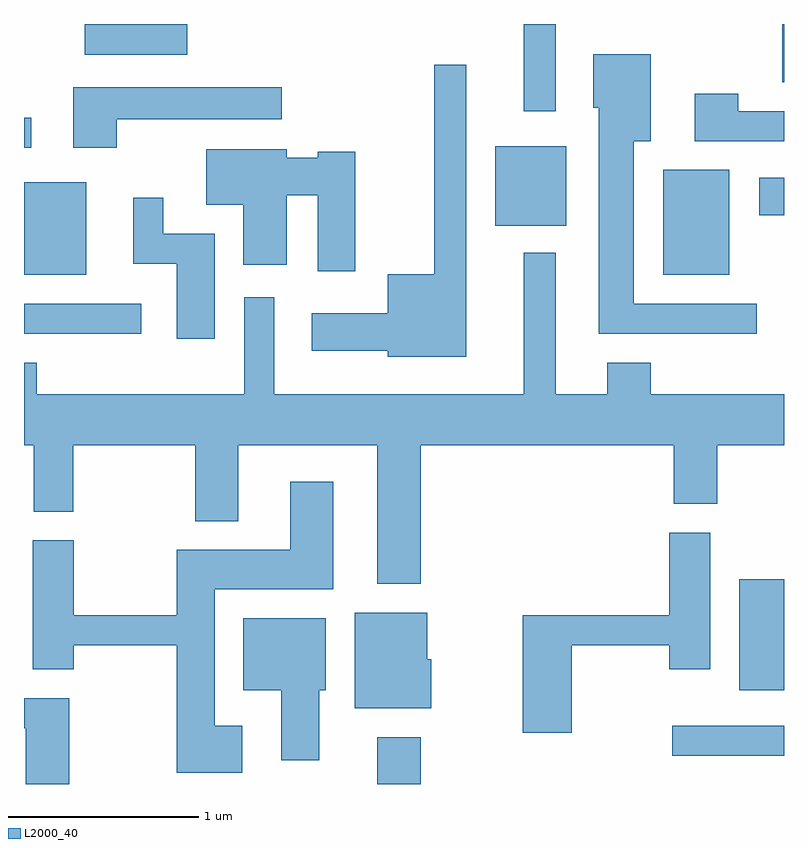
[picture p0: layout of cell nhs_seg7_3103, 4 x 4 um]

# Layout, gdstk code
import gdstk
lib = gdstk.Library(unit=1e-6, precision=1e-09)
def R(c, l, rs):  # rectangles x0, y0, x1, y1
    for r in rs: c.add(gdstk.rectangle(r[:2], r[2:], *l))
def P(c, l, *ps):  # polygons
    for p in ps: c.add(gdstk.Polygon(p, *l))
L2000_40 = (2000, 40)

nhs_seg7_3103 = lib.new_cell('nhs_seg7_3103')
R(nhs_seg7_3103, L2000_40, [(281.471,1770.252,281.699,1770.499), (283.023,1770.401,283.611,1770.559), (283.376,1770.746,283.611,1771.329), (279.611,1772.621,280.228,1772.779), (279.611,1772.931,279.939,1773.419), (282.976,1772.931,283.324,1773.484), (282.091,1773.191,282.464,1773.609), (283.481,1773.246,283.611,1773.444), (279.611,1773.601,279.648,1773.759), (282.241,1773.793,282.409,1774.252), (283.601,1773.946,283.611,1774.252), (279.931,1774.091,280.469,1774.252)])
P(nhs_seg7_3103, L2000_40, [(283.468,1772.779),(282.819,1772.779),(282.819,1773.636),(282.909,1773.636),(282.909,1774.094),(282.606,1774.094),(282.606,1773.811),(282.636,1773.811),(282.636,1772.621),(283.468,1772.621)],
  [(281.939,1774.038),(281.771,1774.038),(281.771,1772.934),(281.526,1772.934),(281.526,1772.729),(281.126,1772.729),(281.126,1772.531),(281.526,1772.531),(281.526,1772.501),(281.939,1772.501)],
  [(280.099,1773.751),(280.968,1773.751),(280.968,1773.919),(279.871,1773.919),(279.871,1773.601),(280.099,1773.601)],
  [(283.611,1773.794),(283.369,1773.794),(283.369,1773.884),(283.141,1773.884),(283.141,1773.636),(283.611,1773.636)],
  [(281.354,1773.579),(281.156,1773.579),(281.156,1773.549),(280.994,1773.549),(280.994,1773.594),(280.571,1773.594),(280.571,1773.301),(280.766,1773.301),(280.766,1772.986),(280.994,1772.986),(280.994,1773.351),(281.156,1773.351),(281.156,1772.951),(281.354,1772.951)],
  [(280.614,1773.149),(280.344,1773.149),(280.344,1773.338),(280.186,1773.338),(280.186,1772.991),(280.416,1772.991),(280.416,1772.596),(280.614,1772.596)],
  [(281.699,1772.036),(283.031,1772.036),(283.031,1771.726),(283.259,1771.726),(283.259,1772.036),(283.611,1772.036),(283.611,1772.304),(282.909,1772.304),(282.909,1772.469),(282.681,1772.469),(282.681,1772.304),(282.409,1772.304),(282.409,1773.048),(282.241,1773.048),(282.241,1772.304),(280.929,1772.304),(280.929,1772.813),(280.771,1772.813),(280.771,1772.304),(279.679,1772.304),(279.679,1772.469),(279.611,1772.469),(279.611,1772.036),(279.661,1772.036),(279.661,1771.686),(279.869,1771.686),(279.869,1772.036),(280.511,1772.036),(280.511,1771.636),(280.739,1771.636),(280.739,1772.036),(281.471,1772.036),(281.471,1771.306),(281.699,1771.306)],
  [(280.759,1770.559),(280.614,1770.559),(280.614,1771.276),(281.239,1771.276),(281.239,1771.844),(281.011,1771.844),(281.011,1771.484),(280.416,1771.484),(280.416,1771.139),(279.874,1771.139),(279.874,1771.534),(279.656,1771.534),(279.656,1770.856),(279.874,1770.856),(279.874,1770.981),(280.416,1770.981),(280.416,1770.311),(280.759,1770.311)],
  [(282.494,1770.981),(283.006,1770.981),(283.006,1770.856),(283.224,1770.856),(283.224,1771.574),(283.006,1771.574),(283.006,1771.139),(282.236,1771.139),(282.236,1770.521),(282.494,1770.521)],
  [(281.754,1770.909),(281.734,1770.909),(281.734,1771.154),(281.351,1771.154),(281.351,1770.651),(281.754,1770.651)],
  [(281.164,1770.746),(281.199,1770.746),(281.199,1771.124),(280.766,1771.124),(280.766,1770.746),(280.966,1770.746),(280.966,1770.376),(281.164,1770.376)],
  [(279.849,1770.704),(279.611,1770.704),(279.611,1770.546),(279.621,1770.546),(279.621,1770.252),(279.849,1770.252)])

lib.write_gds('nhs_seg7_3103.gds')
